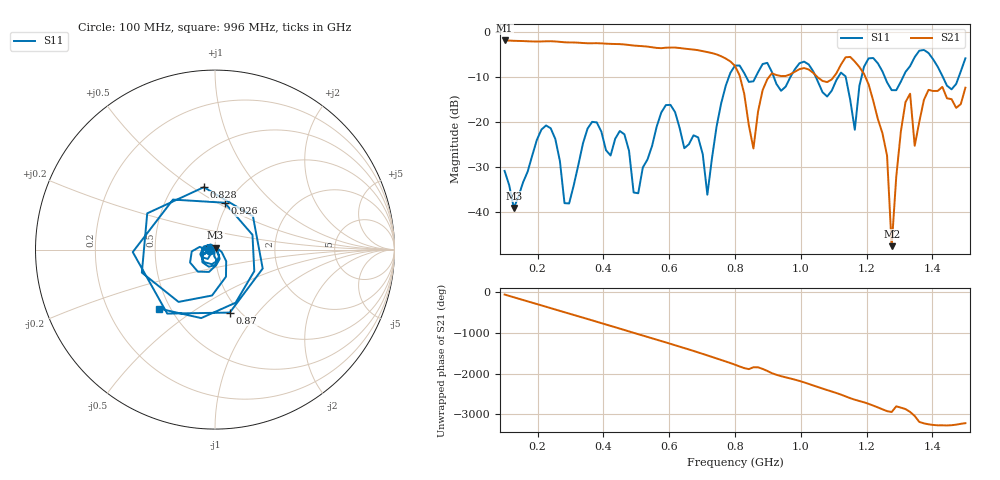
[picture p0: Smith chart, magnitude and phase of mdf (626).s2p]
! NanoVNA-App
! Date: 2025-09-25 15:43:17
! Start: 100MHz Stop: 1,5GHz Points: 101
! S-Parameter data: F S11 S21 S12 S22
# Hz S RI R 50
!  Frequency  S11_Real  S11_Imag  S21_Real  S21_Imag  S12_Real  S12_Imag  S22_Real  S22_Imag
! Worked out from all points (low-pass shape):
!   101 points, 100 MHz to 1.5 GHz, reference 50 ohm
!   highest |S21| = -1.80 dB at 100 MHz (marker M1); lowest = -47.5 dB at 1.276 GHz (marker M2)
!   |S21| within 3 dB of the highest: start of sweep to 739.4 MHz
!   lowest |S11| = -39.0 dB at 128 MHz (marker M3), VSWR 1.02, Z = 50.3 + j1.07 ohm
!   |S11| at or under -10 dB: start of sweep to 781 MHz; 1.046 GHz to 1.113 GHz (67.12 MHz wide, 6.22 % of centre); 1.256 GHz to 1.31 GHz (54.51 MHz wide, 4.25 % of centre) (the widest 3 of 7)
!   S12 and S22 are empty: the file has one direction only
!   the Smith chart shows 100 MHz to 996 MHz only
!   S11 on the Smith chart (normalised r, x): 100 MHz: 0.94, -0.01; 828 MHz: 0.70, +0.56; 870 MHz: 0.90, -0.73; 926 MHz: 0.96, +0.54; 996 MHz: 0.43, -0.36
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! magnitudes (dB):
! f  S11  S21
! 100 MHz  -30.8  -1.8
! 128 MHz  -39.0  -1.9
! 212 MHz  -21.6  -2.0
! 282 MHz  -37.9  -2.2
! 338 MHz  -24.7  -2.4
! 464 MHz  -22.7  -2.7
! 506 MHz  -35.7  -3.0
! 576 MHz  -17.8  -3.5
! 716 MHz  -36.1  -4.4
! 800 MHz  -7.4  -7.4
! 828 MHz  -9.0  -13.6
! 870 MHz  -8.9  -17.6
! 926 MHz  -11.5  -9.5
! 996 MHz  -6.9  -8.2
! 1.038 GHz  -8.7  -9.0
! 1.164 GHz  -21.6  -6.5
! 1.192 GHz  -7.6  -9.2
! 1.262 GHz  -11.1  -27.4
! 1.276 GHz  -12.8  -47.5
! 1.318 GHz  -8.8  -15.5
! 1.346 GHz  -5.5  -25.2
! 1.5 GHz  -5.8  -12.3
